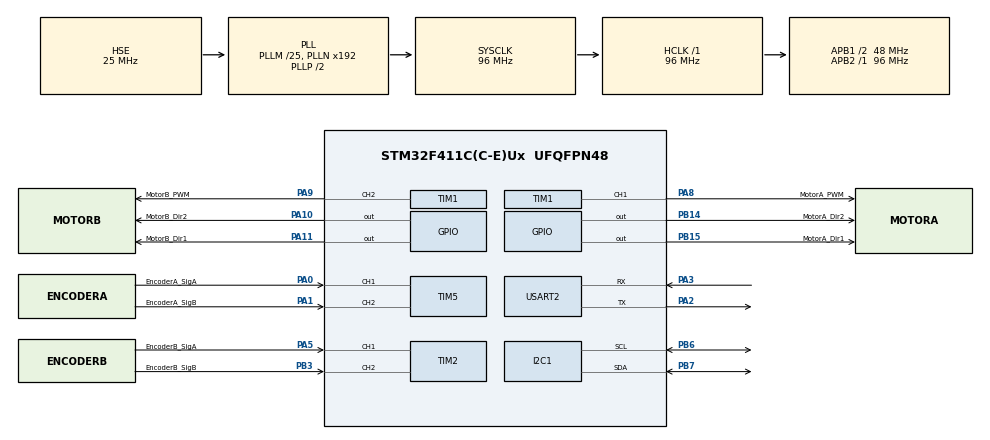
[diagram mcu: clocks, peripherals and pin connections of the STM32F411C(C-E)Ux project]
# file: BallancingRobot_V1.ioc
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Mcu.Family=STM32F4
Mcu.Name=STM32F411C(C-E)Ux
Mcu.Package=UFQFPN48
NVIC.PriorityGroup=NVIC_PRIORITYGROUP_4
NVIC.TIM4_IRQn=true\:0\:0\:false\:true\:true\:1\:true\:true\:true
PA0-WKUP.GPIO_Label=EncoderA_SigA
PA0-WKUP.Signal=S_TIM5_CH1
PA1.GPIO_Label=EncoderA_SigB
PA1.Signal=S_TIM5_CH2
PA10.GPIO_Label=MotorB_Dir2
PA10.Signal=GPIO_Output
PA11.GPIO_Label=MotorB_Dir1
PA11.Signal=GPIO_Output
PA13.Mode=Serial_Wire
PA13.Signal=SYS_JTMS-SWDIO
PA14.Mode=Serial_Wire
PA14.Signal=SYS_JTCK-SWCLK
PA2.Mode=Asynchronous
PA2.Signal=USART2_TX
PA3.Mode=Asynchronous
PA3.Signal=USART2_RX
PA5.GPIO_Label=EncoderB_SigA
PA5.Signal=S_TIM2_CH1_ETR
PA8.GPIO_Label=MotorA_PWM
PA8.Signal=S_TIM1_CH1
PA9.GPIO_Label=MotorB_PWM
PA9.Signal=S_TIM1_CH2
PB14.GPIO_Label=MotorA_Dir2
PB14.Signal=GPIO_Output
PB15.GPIO_Label=MotorA_Dir1
PB15.Signal=GPIO_Output
PB3.GPIO_Label=EncoderB_SigB
PB3.Signal=S_TIM2_CH2
PB6.Mode=I2C
PB6.Signal=I2C1_SCL
PB7.Mode=I2C
PB7.Signal=I2C1_SDA
PC14-OSC32_IN.Mode=LSE-External-Oscillator
PC14-OSC32_IN.Signal=RCC_OSC32_IN
PC15-OSC32_OUT.Mode=LSE-External-Oscillator
PC15-OSC32_OUT.Signal=RCC_OSC32_OUT
PH0\ -\ OSC_IN.Mode=HSE-External-Oscillator
PH0\ -\ OSC_IN.Signal=RCC_OSC_IN
PH1\ -\ OSC_OUT.Mode=HSE-External-Oscillator
PH1\ -\ OSC_OUT.Signal=RCC_OSC_OUT
ProjectManager.HeapSize=0x200
ProjectManager.StackSize=0x400
ProjectManager.TargetToolchain=STM32CubeIDE
RCC.48MHZClocksFreq_Value=48000000
RCC.AHBFreq_Value=96000000
RCC.APB1CLKDivider=RCC_HCLK_DIV2
RCC.APB1Freq_Value=48000000
RCC.APB1TimFreq_Value=96000000
RCC.APB2Freq_Value=96000000
RCC.APB2TimFreq_Value=96000000
RCC.CortexFreq_Value=96000000
RCC.HCLKFreq_Value=96000000
RCC.HSE_VALUE=25000000
RCC.HSI_VALUE=16000000
RCC.PLLM=25
RCC.PLLSourceVirtual=RCC_PLLSOURCE_HSE
RCC.SYSCLKFreq_VALUE=96000000
RCC.SYSCLKSource=RCC_SYSCLKSOURCE_PLLCLK
RCC.VCOOutputFreq_Value=192000000
SH.S_TIM1_CH1.0=TIM1_CH1,PWM Generation1 CH1
SH.S_TIM1_CH2.0=TIM1_CH2,PWM Generation2 CH2
SH.S_TIM2_CH1_ETR.0=TIM2_CH1,Encoder_Interface
SH.S_TIM2_CH2.0=TIM2_CH2,Encoder_Interface
SH.S_TIM5_CH1.0=TIM5_CH1,Encoder_Interface
SH.S_TIM5_CH2.0=TIM5_CH2,Encoder_Interface
TIM1.Channel-PWM\ Generation1\ CH1=TIM_CHANNEL_1
TIM1.Channel-PWM\ Generation2\ CH2=TIM_CHANNEL_2
TIM1.OCMode_PWM-PWM\ Generation2\ CH2=TIM_OCMODE_PWM1
TIM1.Period=999
TIM1.Prescaler=3
TIM2.EncoderMode=TIM_ENCODERMODE_TI12
TIM2.IC2Filter=10
TIM4.Channel-Output\ Compare1\ No\ Output=TIM_CHANNEL_1
TIM4.Period=99
TIM4.Prescaler=4799
TIM5.EncoderMode=TIM_ENCODERMODE_TI12
TIM5.IC1Filter=10
TIM5.IC2Filter=10
USART2.VirtualMode=VM_ASYNC
VP_TIM1_VS_ClockSourceINT.Mode=Internal
VP_TIM4_VS_ClockSourceINT.Mode=Internal
VP_TIM4_VS_no_output1.Mode=Output Compare1 No Output
board=custom

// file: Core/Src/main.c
/* USER CODE BEGIN Header */
/**
  ******************************************************************************
  * @file           : main.c
  * @brief          : Main program body
  ******************************************************************************
  * @attention
  *
  * Copyright (c) 2025 STMicroelectronics.
  * All rights reserved.
  *
  * This software is licensed under terms that can be found in the LICENSE file
  * in the root directory of this software component.
  * If no LICENSE file comes with this software, it is provided AS-IS.
  *
  ******************************************************************************
  */
/* USER CODE END Header */
#include "main.h"
#include "i2c.h"
#include "tim.h"
#include "usart.h"
#include "gpio.h"

/* USER CODE BEGIN Includes */
#include "motor_simple.h"
#include "Encoder.h"
#include "PID.h"
#include "MPU6050.h"

#include <string.h>
#include <stdio.h>
#include <math.h>
/* USER CODE END Includes */

/* USER CODE BEGIN PD */
#define ENCODER_PULSES_PER_REV 1320
#define ENCODER_DT  	0.005f  	// 10ms = 0.01s
#define ANGLE_DT    	0.005f		//same as encoderDt

#define PWM_MAX_VALUE 	1000.0
//PID ANGLE
#define PID_ANGLE_P 	50.0f
#define PID_ANGLE_I 	0
#define PID_ANGLE_D 	0.65f

//PID ENCODER
#define PID_ENCODER_P 	3.5f
#define PID_ENCODER_I 	28.0f
#define PID_ENCODER_D 	0.04f

//PID SPEED
#define PID_SPEED_P		0.05f
#define PID_SPEED_I		0.01f
#define PID_SPEED_D		0.0f

#define RPM_MAX			320.0f
#define ENCODER_MAX		150.0f
#define ANGLE_MAX		27.0f
//Compensation for mass center
#define ANGLE_DUE_TO_MASS_ASIMETRY -2.2f
#define SPEED_LOOP_DIVIDER  		8

/* USER CODE END PD */

/* USER CODE BEGIN PV */
//Initializing motors
Motor_t MotorA, MotorB;
uint8_t MotorA_PWM, MotorB_PWM;
uint8_t MotorA_Dir, MotorB_Dir;

//Initializing encoders
PID_t PidEncoderA, PidEncoderB;
Encoder_t EncoderA, EncoderB;

//PID regulator for steering motors speed with MPU6050
PID_t PidSpeed;

uint8_t EncoderCallback = 0;

//PID regulator for steering velocity with MPU6050 readings
PID_t PidAngle;
float CalculatedVelocity;
float PwmA = 0;
float PwmB = 0;
uint8_t DirA, DirB;
uint8_t AngleFlag;

MPU6050_t MPU6050;
float Roll, Pitch, Yaw;

Data_t CalibrateAccel;
Data_t CalibrateGyro;
uint8_t TMP;

typedef struct{
	float AnglePitch;		//measured robot tilt angle

	float MotorSpeedA;
	float MotorSpeedB;
	float SpeedCurrent;		//aktualna prędkośc - srednia z dwuch kół

	float TargetAngle;		//target angle of the robot (MASS_SIMETRY + velocity)
	float MotorSpeedTarget;		//Target speed of the robot

	float PwmOutputA;		//PWM calculated with PID angle regulator
	float PwmOutputB;
}RobotState_t;

RobotState_t RobotState;

//PID Speed
float EncoderSum;
uint8_t Counter = 0;
float SetVelocity = 0;
float SpeedDt = ENCODER_DT * SPEED_LOOP_DIVIDER;
float MaxAngleOutput = 5.0f;
float CompensateAngle;
float DesiredAngle;
//printing via uart
char Message[128];

/* USER CODE END PV */

void SystemClock_Config(void);
static void MX_NVIC_Init(void);
/* USER CODE BEGIN PFP */
void EncoderUpdate(void);
void BalanceRegulator_PD(void);
void MoveRobot(void);
void SpeedRegulator_PI(void);

/* USER CODE END PFP */

int main(void)
{

  /* MCU Configuration--------------------------------------------------------*/

  /* Reset of all peripherals, Initializes the Flash interface and the Systick. */
  HAL_Init();

  /* Configure the system clock */
  SystemClock_Config();

  /* Initialize all configured peripherals */
  MX_GPIO_Init();
  MX_TIM1_Init();
  MX_TIM5_Init();
  MX_I2C1_Init();
  MX_TIM2_Init();
  MX_TIM4_Init();
  MX_USART2_UART_Init();

  /* Initialize interrupts */
  MX_NVIC_Init();
  /* USER CODE BEGIN 2 */
  //initializing motors
  //start PWM
  HAL_Delay(500);
  HAL_TIM_PWM_Start(&htim1, TIM_CHANNEL_1); //for motor A
  HAL_TIM_PWM_Start(&htim1, TIM_CHANNEL_2); //for motor B

  Motor_Init(&MotorA, &htim1, TIM_CHANNEL_1, MotorA_PWM, MotorA_Dir1_GPIO_Port, MotorA_Dir1_Pin, MotorA_Dir2_GPIO_Port, MotorA_Dir2_Pin);
  Motor_Init(&MotorB, &htim1, TIM_CHANNEL_2, MotorB_PWM, MotorB_Dir1_GPIO_Port, MotorB_Dir1_Pin, MotorB_Dir2_GPIO_Port, MotorB_Dir2_Pin);

  //initializing encoders
  HAL_TIM_Encoder_Start(&htim2, TIM_CHANNEL_ALL);
  HAL_TIM_Encoder_Start(&htim5, TIM_CHANNEL_ALL);

  Encoder_Init(&EncoderA, &htim5, ENCODER_PULSES_PER_REV, ENCODER_DT);
  Encoder_Init(&EncoderB, &htim2, ENCODER_PULSES_PER_REV, ENCODER_DT);

  //initializing mpu6050 module
  MPU6050_Init(&MPU6050, &hi2c1, 0x68);

  //initializing PID for encoders and angle
  PID_Init(&PidEncoderA, PID_ENCODER_P, PID_ENCODER_I, PID_ENCODER_D, ENCODER_DT, PWM_MAX_VALUE, -PWM_MAX_VALUE);
  PID_Init(&PidEncoderB, PID_ENCODER_P, PID_ENCODER_I, PID_ENCODER_D, ENCODER_DT, PWM_MAX_VALUE, -PWM_MAX_VALUE);

  PID_Init(&PidAngle, PID_ANGLE_P, PID_ANGLE_I, PID_ANGLE_D, ANGLE_DT , ENCODER_MAX, -ENCODER_MAX);
  PID_Init(&PidSpeed, PID_SPEED_P, PID_SPEED_I, PID_SPEED_D, SpeedDt, MaxAngleOutput, -MaxAngleOutput);

  HAL_TIM_Base_Start_IT(&htim4);

  // Wartości początkowe
  RobotState.TargetAngle = ANGLE_DUE_TO_MASS_ASIMETRY;
  RobotState.MotorSpeedTarget = 0.0f;
  HAL_Delay(1000);

  /* USER CODE END 2 */

  /* Infinite loop */
  /* USER CODE BEGIN WHILE */
  while (1)
  {
	  if (EncoderCallback == 1)
	  	  {
		  EncoderCallback = 0;
		  MPU6050_Angle(&MPU6050, &Roll, &Pitch, &Yaw);
		  RobotState.AnglePitch = Pitch;
		  EncoderUpdate();
		  BalanceRegulator_PD();
		  MoveRobot();

		  Counter++;
		  if(Counter >= SPEED_LOOP_DIVIDER)
		  {
			  Counter = 0;
			  SpeedRegulator_PI();
		  }
		  //MPU6050_CalibrateAccel(&MPU6050, &CalibrateAccel);
		  //MPU6050_CalibrateGyro(&MPU6050, &CalibrateGyro);

		 sprintf(Message, "%.3f;%.2f;%.2f\n", Roll, RobotState.MotorSpeedB, RobotState.MotorSpeedTarget);
		 HAL_UART_Transmit(&huart2,(uint8_t*) Message, strlen(Message), HAL_MAX_DELAY);

	  	  }

    /* USER CODE END WHILE */

  }
}

void SystemClock_Config(void)
{
  RCC_OscInitTypeDef RCC_OscInitStruct = {0};
  RCC_ClkInitTypeDef RCC_ClkInitStruct = {0};

  /** Configure the main internal regulator output voltage
  */
  __HAL_RCC_PWR_CLK_ENABLE();
  __HAL_PWR_VOLTAGESCALING_CONFIG(PWR_REGULATOR_VOLTAGE_SCALE1);

  /** Initializes the RCC Oscillators according to the specified parameters
  * in the RCC_OscInitTypeDef structure.
  */
  RCC_OscInitStruct.OscillatorType = RCC_OSCILLATORTYPE_HSE;
  RCC_OscInitStruct.HSEState = RCC_HSE_ON;
  RCC_OscInitStruct.PLL.PLLState = RCC_PLL_ON;
  RCC_OscInitStruct.PLL.PLLSource = RCC_PLLSOURCE_HSE;
  RCC_OscInitStruct.PLL.PLLM = 25;
  RCC_OscInitStruct.PLL.PLLN = 192;
  RCC_OscInitStruct.PLL.PLLP = RCC_PLLP_DIV2;
  RCC_OscInitStruct.PLL.PLLQ = 4;
  if (HAL_RCC_OscConfig(&RCC_OscInitStruct) != HAL_OK)
  {
    Error_Handler();
  }

  /** Initializes the CPU, AHB and APB buses clocks
  */
  RCC_ClkInitStruct.ClockType = RCC_CLOCKTYPE_HCLK|RCC_CLOCKTYPE_SYSCLK
                              |RCC_CLOCKTYPE_PCLK1|RCC_CLOCKTYPE_PCLK2;
  RCC_ClkInitStruct.SYSCLKSource = RCC_SYSCLKSOURCE_PLLCLK;
  RCC_ClkInitStruct.AHBCLKDivider = RCC_SYSCLK_DIV1;
  RCC_ClkInitStruct.APB1CLKDivider = RCC_HCLK_DIV2;
  RCC_ClkInitStruct.APB2CLKDivider = RCC_HCLK_DIV1;

  if (HAL_RCC_ClockConfig(&RCC_ClkInitStruct, FLASH_LATENCY_3) != HAL_OK)
  {
    Error_Handler();
  }
}

/**
  * @brief NVIC Configuration.
  * @retval None
  */
static void MX_NVIC_Init(void)
{
  /* TIM4_IRQn interrupt configuration */
  HAL_NVIC_SetPriority(TIM4_IRQn, 0, 0);
  HAL_NVIC_EnableIRQ(TIM4_IRQn);
}

/* USER CODE BEGIN 4 */
void HAL_TIM_PeriodElapsedCallback(TIM_HandleTypeDef *htim)
{
	if(htim->Instance == TIM4)	//0.005s
	{
		EncoderCallback = 1;
	}
}

void EncoderUpdate(void)
{
	//Update encoders
	Encoder_Update(&EncoderA);
	Encoder_Update(&EncoderB);

	//Average speed of the robot
    RobotState.SpeedCurrent = (EncoderA.AngularVelocity + EncoderB.AngularVelocity) / 2.0f;
    RobotState.MotorSpeedA = EncoderA.AngularVelocity;
    RobotState.MotorSpeedB = EncoderB.AngularVelocity;
    EncoderSum += RobotState.SpeedCurrent;
}
void SpeedRegulator_PI(void)
{
	float AverageSpeed = EncoderSum / (float) SPEED_LOOP_DIVIDER;
	CompensateAngle = PID_Compute(&PidSpeed, AverageSpeed, SetVelocity);
	EncoderSum = 0.0;
}
void BalanceRegulator_PD(void)
{
	//checking if robot is not tilted
	if (Pitch > ANGLE_MAX || Pitch < -ANGLE_MAX)
	{
		AngleFlag = 1;
		return;
	}
	else
	{
		AngleFlag = 0;
	}
	//calculate speed required to get to upright position
	DesiredAngle = ANGLE_DUE_TO_MASS_ASIMETRY + CompensateAngle;
	RobotState.MotorSpeedTarget = -1 *  PID_Compute(&PidAngle, Pitch, DesiredAngle);

	//calculate PWM required to get to the desired speed
	RobotState.PwmOutputA = PID_Compute(&PidEncoderA, RobotState.MotorSpeedA, RobotState.MotorSpeedTarget);
	RobotState.PwmOutputB = PID_Compute(&PidEncoderB, RobotState.MotorSpeedB, RobotState.MotorSpeedTarget);

	if(RobotState.PwmOutputA > 0)	//dobór kierunku
	{
		DirA = 1;	//MotorA - kierunek do przodu
	}
	else
	{
		DirA = 0;	//MotorA - kierunek do tylu
	}
	if(RobotState.PwmOutputB > 0)	//dobór kierunku
	{
		DirB = 0;	//MotorB - kierunek do przodu
	}
	else
	{
		DirB = 1;	//MotorB - kierunek do tylu
	}
}

void MoveRobot(void)
{
	if(AngleFlag == 1)
	{
		Motor_SetRideParameters(&MotorA, 0, 0);
		Motor_SetRideParameters(&MotorB, 0, 0);
		Motor_Ride(&MotorA);
		Motor_Ride(&MotorB);

		PID_Reset(&PidAngle);
		PID_Reset(&PidSpeed);
		PID_Reset(&PidEncoderA);
		PID_Reset(&PidEncoderB);
		return;
	}
	float AbsPwmA = fabsf(RobotState.PwmOutputA);
	float AbsPwmB = fabsf(RobotState.PwmOutputB);

	if(AbsPwmA > PWM_MAX_VALUE) AbsPwmA = PWM_MAX_VALUE;
	if(AbsPwmB > PWM_MAX_VALUE) AbsPwmB = PWM_MAX_VALUE;

	Motor_SetRideParameters(&MotorA, (uint16_t)AbsPwmA, DirA);
	Motor_SetRideParameters(&MotorB, (uint16_t)AbsPwmB, DirB);
	Motor_Ride(&MotorA);
	Motor_Ride(&MotorB);
}

/* USER CODE END 4 */

void Error_Handler(void)
{
  __disable_irq();
  while (1)
  {
  }
}
